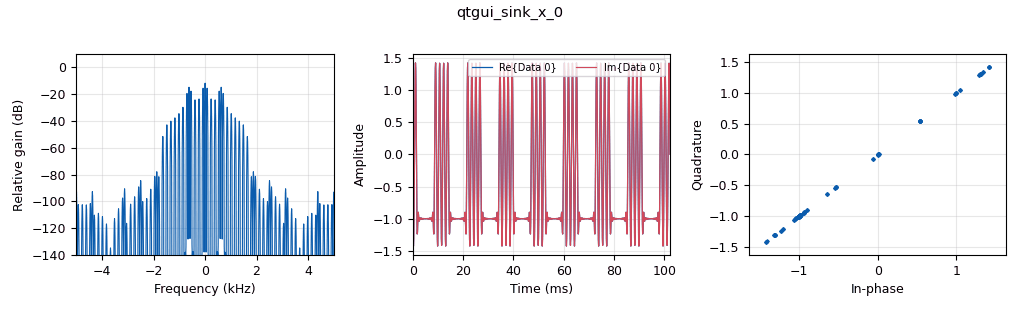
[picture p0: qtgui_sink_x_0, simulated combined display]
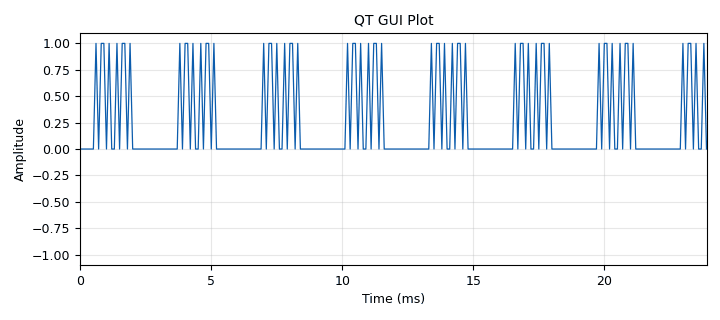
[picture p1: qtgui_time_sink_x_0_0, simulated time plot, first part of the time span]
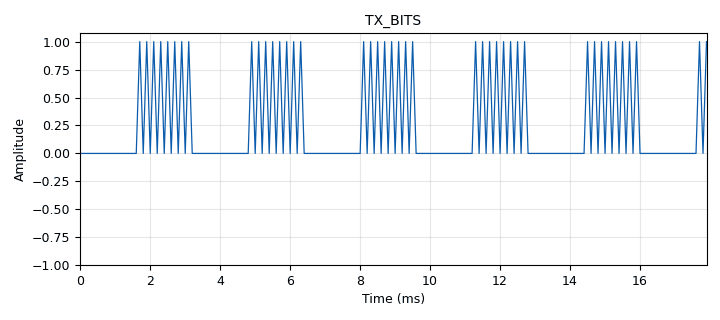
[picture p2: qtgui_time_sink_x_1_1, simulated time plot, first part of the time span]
<?xml version='1.0' encoding='utf-8'?>
<?grc format='1' created='3.7.13'?>
<flow_graph>
<block>
<key>options</key>
<param><key>id</key><value>dpsk_loopback</value></param>
<param><key>author</key><value>GNU Radio</value></param>
<param><key>category</key><value>Custom</value></param>
<param><key>description</key><value>Encode a signal into a packet, modulate, demodulate, decode and show it's the same data.</value></param>
<param><key>generate_options</key><value>qt_gui</value></param>
<param><key>title</key><value>DPSK Loopback</value></param>
</block>
<block>
<key>variable_constellation</key>
<param><key>id</key><value>const</value></param>
<param><key>type</key><value>bpsk</value></param>
<param><key>precision</key><value>8</value></param>
</block>
<block>
<key>variable_qtgui_range</key>
<param><key>id</key><value>freq</value></param>
<param><key>value</key><value>500</value></param>
<param><key>orient</key><value>Qt.Horizontal</value></param>
<param><key>start</key><value>0</value></param>
<param><key>step</key><value>1</value></param>
<param><key>stop</key><value>5000</value></param>
</block>
<block>
<key>variable</key>
<param><key>id</key><value>samp_rate</value></param>
<param><key>value</key><value>10000</value></param>
</block>
<block>
<key>analog_random_source_x</key>
<param><key>id</key><value>analog_random_source_x_0</value></param>
<param><key>_enabled</key><value>0</value></param>
<param><key>max</key><value>2</value></param>
<param><key>min</key><value>0</value></param>
<param><key>num_samps</key><value>1000</value></param>
<param><key>type</key><value>byte</value></param>
<param><key>repeat</key><value>True</value></param>
</block>
<block>
<key>blocks_char_to_float</key>
<param><key>id</key><value>blocks_char_to_float_0</value></param>
<param><key>scale</key><value>1</value></param>
</block>
<block>
<key>blocks_char_to_float</key>
<param><key>id</key><value>blocks_char_to_float_1</value></param>
<param><key>scale</key><value>1</value></param>
</block>
<block>
<key>blocks_keep_one_in_n</key>
<param><key>id</key><value>blocks_keep_one_in_n_0</value></param>
<param><key>n</key><value>4</value></param>
<param><key>type</key><value>byte</value></param>
</block>
<block>
<key>blocks_throttle</key>
<param><key>id</key><value>blocks_throttle_0_0</value></param>
<param><key>samples_per_second</key><value>samp_rate</value></param>
<param><key>type</key><value>complex</value></param>
</block>
<block>
<key>blocks_unpack_k_bits_bb</key>
<param><key>id</key><value>blocks_unpack_k_bits_bb_0</value></param>
<param><key>k</key><value>8</value></param>
</block>
<block>
<key>blocks_vector_source_x</key>
<param><key>id</key><value>blocks_vector_source_x_0</value></param>
<param><key>type</key><value>byte</value></param>
<param><key>repeat</key><value>True</value></param>
<param><key>vector</key><value>(0, 0, 0x55, 0x55 )</value></param>
</block>
<block>
<key>channels_channel_model</key>
<param><key>id</key><value>channels_channel_model_0</value></param>
<param><key>epsilon</key><value>1.0</value></param>
<param><key>freq_offset</key><value>0.0</value></param>
<param><key>noise_voltage</key><value>0.0</value></param>
<param><key>seed</key><value>0</value></param>
<param><key>taps</key><value>1.0 + 1.0j</value></param>
</block>
<block>
<key>digital_constellation_modulator</key>
<param><key>id</key><value>digital_constellation_modulator_0</value></param>
<param><key>constellation</key><value>const</value></param>
<param><key>differential</key><value>True</value></param>
<param><key>excess_bw</key><value>0.35</value></param>
<param><key>samples_per_symbol</key><value>4</value></param>
</block>
<block>
<key>digital_constellation_receiver_cb</key>
<param><key>id</key><value>digital_constellation_receiver_cb_0</value></param>
<param><key>constellation</key><value>const</value></param>
<param><key>loop_bw</key><value>62.8e-3</value></param>
<param><key>fmax</key><value>1000</value></param>
<param><key>fmin</key><value>-1000</value></param>
<param><key>showports</key><value>True</value></param>
</block>
<block>
<key>digital_diff_decoder_bb</key>
<param><key>id</key><value>digital_diff_decoder_bb_0</value></param>
<param><key>modulus</key><value>2</value></param>
</block>
<block>
<key>qtgui_number_sink</key>
<param><key>id</key><value>qtgui_number_sink_0</value></param>
<param><key>graph_type</key><value>qtgui.NUM_GRAPH_HORIZ</value></param>
<param><key>type</key><value>float</value></param>
<param><key>name</key><value>constellation</value></param>
<param><key>nconnections</key><value>3</value></param>
</block>
<block>
<key>qtgui_sink_x</key>
<param><key>id</key><value>qtgui_sink_x_0</value></param>
<param><key>bw</key><value>samp_rate</value></param>
<param><key>fc</key><value>0</value></param>
<param><key>freqchangevar</key><value>None</value></param>
<param><key>fftsize</key><value>1024</value></param>
<param><key>showports</key><value>True</value></param>
<param><key>type</key><value>complex</value></param>
<param><key>wintype</key><value>firdes.WIN_BLACKMAN_hARRIS</value></param>
</block>
<block>
<key>qtgui_time_sink_x</key>
<param><key>id</key><value>qtgui_time_sink_x_0_0</value></param>
<param><key>color1</key><value>"blue"</value></param>
<param><key>label1</key><value></value></param>
<param><key>name</key><value>QT GUI Plot</value></param>
<param><key>size</key><value>1024</value></param>
<param><key>srate</key><value>samp_rate</value></param>
<param><key>type</key><value>float</value></param>
<param><key>ymax</key><value>1.1</value></param>
<param><key>ymin</key><value>-1.1</value></param>
</block>
<block>
<key>qtgui_time_sink_x</key>
<param><key>id</key><value>qtgui_time_sink_x_1_1</value></param>
<param><key>color1</key><value>"blue"</value></param>
<param><key>label1</key><value></value></param>
<param><key>name</key><value>TX_BITS</value></param>
<param><key>size</key><value>1024</value></param>
<param><key>srate</key><value>samp_rate</value></param>
<param><key>type</key><value>float</value></param>
</block>
<connection><source_block_id>blocks_char_to_float_0</source_block_id><sink_block_id>qtgui_time_sink_x_1_1</sink_block_id><source_key>0</source_key><sink_key>0</sink_key></connection>
<connection><source_block_id>blocks_char_to_float_1</source_block_id><sink_block_id>qtgui_time_sink_x_0_0</sink_block_id><source_key>0</source_key><sink_key>0</sink_key></connection>
<connection><source_block_id>blocks_keep_one_in_n_0</source_block_id><sink_block_id>digital_diff_decoder_bb_0</sink_block_id><source_key>0</source_key><sink_key>0</sink_key></connection>
<connection><source_block_id>blocks_throttle_0_0</source_block_id><sink_block_id>channels_channel_model_0</sink_block_id><source_key>0</source_key><sink_key>0</sink_key></connection>
<connection><source_block_id>blocks_unpack_k_bits_bb_0</source_block_id><sink_block_id>blocks_char_to_float_0</sink_block_id><source_key>0</source_key><sink_key>0</sink_key></connection>
<connection><source_block_id>blocks_vector_source_x_0</source_block_id><sink_block_id>blocks_unpack_k_bits_bb_0</sink_block_id><source_key>0</source_key><sink_key>0</sink_key></connection>
<connection><source_block_id>blocks_vector_source_x_0</source_block_id><sink_block_id>digital_constellation_modulator_0</sink_block_id><source_key>0</source_key><sink_key>0</sink_key></connection>
<connection><source_block_id>channels_channel_model_0</source_block_id><sink_block_id>digital_constellation_receiver_cb_0</sink_block_id><source_key>0</source_key><sink_key>0</sink_key></connection>
<connection><source_block_id>channels_channel_model_0</source_block_id><sink_block_id>qtgui_sink_x_0</sink_block_id><source_key>0</source_key><sink_key>0</sink_key></connection>
<connection><source_block_id>digital_constellation_modulator_0</source_block_id><sink_block_id>blocks_throttle_0_0</sink_block_id><source_key>0</source_key><sink_key>0</sink_key></connection>
<connection><source_block_id>digital_constellation_receiver_cb_0</source_block_id><sink_block_id>qtgui_number_sink_0</sink_block_id><source_key>1</source_key><sink_key>0</sink_key></connection>
<connection><source_block_id>digital_constellation_receiver_cb_0</source_block_id><sink_block_id>qtgui_number_sink_0</sink_block_id><source_key>3</source_key><sink_key>2</sink_key></connection>
<connection><source_block_id>digital_constellation_receiver_cb_0</source_block_id><sink_block_id>blocks_keep_one_in_n_0</sink_block_id><source_key>0</source_key><sink_key>0</sink_key></connection>
<connection><source_block_id>digital_constellation_receiver_cb_0</source_block_id><sink_block_id>qtgui_number_sink_0</sink_block_id><source_key>2</source_key><sink_key>1</sink_key></connection>
<connection><source_block_id>digital_diff_decoder_bb_0</source_block_id><sink_block_id>blocks_char_to_float_1</sink_block_id><source_key>0</source_key><sink_key>0</sink_key></connection>
</flow_graph>
